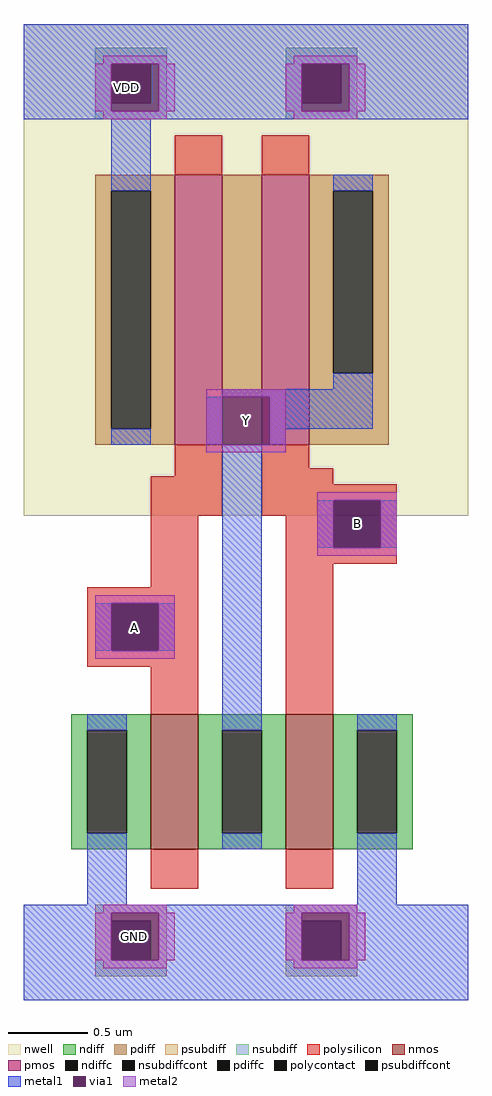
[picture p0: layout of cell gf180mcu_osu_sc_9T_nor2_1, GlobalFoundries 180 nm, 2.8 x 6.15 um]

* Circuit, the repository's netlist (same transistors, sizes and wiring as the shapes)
* NGSPICE file created from gf180mcu_osu_sc_9T_nor2_1.ext - technology: gf180mcuC

.inc "/import/yukari1/lrburle/globalfoundries-pdk-libs-gf180mcu_osu_sc/char/techfiles/design.hspice"
.lib "/import/yukari1/lrburle/globalfoundries-pdk-libs-gf180mcu_osu_sc/char/techfiles/sm141064.hspice" typical

X0 Y B a_25_70# VDD pmos_3p3 w=1.7u l=0.3u
X1 Y A GND GND nmos_3p3 w=0.85u l=0.3u
X2 a_25_70# A VDD VDD pmos_3p3 w=1.7u l=0.3u
X3 GND B Y GND nmos_3p3 w=0.85u l=0.3u

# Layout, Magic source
magic
tech gf180mcuC
<< nwell >>
rect 0 61 56 123
<< nmos >>
rect 16 19 22 36
rect 33 19 39 36
<< pmos >>
rect 19 70 25 104
rect 30 70 36 104
<< ndiff >>
rect 6 34 16 36
rect 6 21 8 34
rect 13 21 16 34
rect 6 19 16 21
rect 22 34 33 36
rect 22 21 25 34
rect 30 21 33 34
rect 22 19 33 21
rect 39 34 49 36
rect 39 21 42 34
rect 47 21 49 34
rect 39 19 49 21
<< pdiff >>
rect 9 102 19 104
rect 9 72 11 102
rect 16 72 19 102
rect 9 70 19 72
rect 25 70 30 104
rect 36 102 46 104
rect 36 79 39 102
rect 44 79 46 102
rect 36 70 46 79
<< ndiffc >>
rect 8 21 13 34
rect 25 21 30 34
rect 42 21 47 34
<< pdiffc >>
rect 11 72 16 102
rect 39 79 44 102
<< psubdiff >>
rect 9 10 18 12
rect 9 5 11 10
rect 16 5 18 10
rect 9 3 18 5
rect 33 10 42 12
rect 33 5 35 10
rect 40 5 42 10
rect 33 3 42 5
<< nsubdiff >>
rect 9 118 18 120
rect 9 113 11 118
rect 16 113 18 118
rect 9 111 18 113
rect 33 118 42 120
rect 33 113 35 118
rect 40 113 42 118
rect 33 111 42 113
<< psubdiffcont >>
rect 11 5 16 10
rect 35 5 40 10
<< nsubdiffcont >>
rect 11 113 16 118
rect 35 113 40 118
<< polysilicon >>
rect 19 104 25 109
rect 30 104 36 109
rect 19 66 25 70
rect 16 61 25 66
rect 30 67 36 70
rect 30 65 39 67
rect 30 63 47 65
rect 30 61 39 63
rect 16 52 22 61
rect 8 50 22 52
rect 8 44 11 50
rect 17 44 22 50
rect 8 42 22 44
rect 16 36 22 42
rect 33 57 39 61
rect 45 57 47 63
rect 33 55 47 57
rect 33 36 39 55
rect 16 14 22 19
rect 33 14 39 19
<< polycontact >>
rect 11 44 17 50
rect 39 57 45 63
<< metal1 >>
rect 0 118 56 123
rect 0 112 11 118
rect 17 112 35 118
rect 41 112 56 118
rect 0 111 56 112
rect 11 102 16 111
rect 39 102 44 104
rect 39 77 44 79
rect 25 76 44 77
rect 11 70 16 72
rect 23 70 25 76
rect 31 72 44 76
rect 31 70 33 72
rect 9 44 11 50
rect 17 44 19 50
rect 8 34 13 36
rect 8 12 13 21
rect 25 34 30 70
rect 37 57 39 63
rect 45 57 47 63
rect 25 19 30 21
rect 42 34 47 36
rect 42 12 47 21
rect 0 11 56 12
rect 0 5 11 11
rect 17 5 35 11
rect 41 5 56 11
rect 0 0 56 5
<< via1 >>
rect 11 113 16 118
rect 16 113 17 118
rect 11 112 17 113
rect 35 113 40 118
rect 40 113 41 118
rect 35 112 41 113
rect 25 70 31 76
rect 11 44 17 50
rect 39 57 45 63
rect 11 10 17 11
rect 11 5 16 10
rect 16 5 17 10
rect 35 10 41 11
rect 35 5 40 10
rect 40 5 41 10
<< metal2 >>
rect 10 118 18 119
rect 34 118 42 119
rect 9 112 11 118
rect 17 112 19 118
rect 33 112 35 118
rect 41 112 43 118
rect 10 111 18 112
rect 34 111 42 112
rect 23 76 33 77
rect 23 70 25 76
rect 31 70 33 76
rect 23 69 33 70
rect 37 63 47 64
rect 37 57 39 63
rect 45 57 47 63
rect 37 56 47 57
rect 9 50 19 51
rect 9 44 11 50
rect 17 44 19 50
rect 9 43 19 44
rect 10 11 18 12
rect 34 11 42 12
rect 9 5 11 11
rect 17 5 19 11
rect 33 5 35 11
rect 41 5 43 11
rect 10 4 18 5
rect 34 4 42 5
<< labels >>
rlabel metal2 13 115 13 115 1 VDD
rlabel metal2 14 8 14 8 1 GND
rlabel metal2 14 47 14 47 1 A
port 1 n
rlabel metal2 28 73 28 73 1 Y
port 2 n
rlabel metal2 42 60 42 60 1 B
port 3 n
<< end >>
